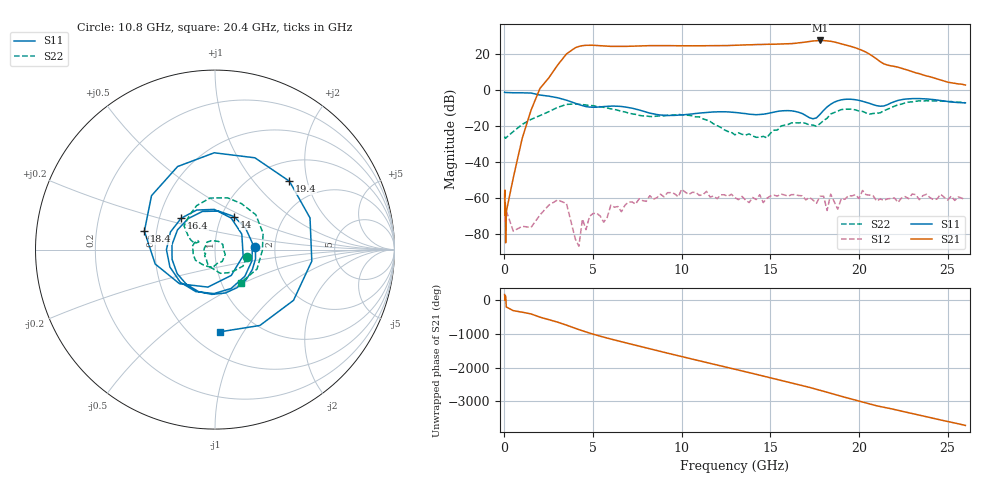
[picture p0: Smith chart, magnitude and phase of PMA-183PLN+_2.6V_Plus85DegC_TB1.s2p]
!Keysight Technologies,N5244A,MY52442000,A.10.40.14
!Date: Thursday, July 16, 2020 11:13:35
!Correction: S11(Full 2 Port(1,2))
!S21(Full 2 Port(1,2))
!S12(Full 2 Port(1,2))
!S22(Full 2 Port(1,2))
!S2P File: Measurements: S11, S21, S12, S22:
# Hz S  dB  R 50
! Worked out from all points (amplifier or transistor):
!   128 points, 10 MHz to 26 GHz, reference 50 ohm
!   highest |S21| = 27.6 dB at 17.8 GHz (marker M1)
!   |S21| within 3 dB of that: 7.8 GHz to 19.42 GHz (11.62 GHz wide, 85.4 % of centre)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
!   unconditionally stable (mu >= 1): start of sweep to end of sweep
!   at 4.8 GHz: K = 68.37, MAG = 26.2 dB, |S12| = -70.1 dB
!   at 13.4 GHz: K = 23.45, MAG = 25.3 dB, |S12| = -59.0 dB
!   at 26 GHz: K = 258.81, MAG = 4.8 dB, |S12| = -60.9 dB
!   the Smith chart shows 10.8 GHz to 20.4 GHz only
!   S11 on the Smith chart (normalised r, x): 10.8 GHz: 1.58, +0.04; 14 GHz: 1.15, +0.44; 16.4 GHz: 0.65, +0.24; 18.4 GHz: 0.43, +0.11; 19.4 GHz: 1.40, +1.56; 20.4 GHz: 0.68, -0.79
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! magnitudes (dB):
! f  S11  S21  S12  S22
! 10 MHz  -1.1  -59.3  -60.0  -26.3
! 50 MHz  -1.3  -62.8  -67.0  -26.6
! 70 MHz  -1.3  -84.8  -69.6  -26.6
! 90 MHz  -1.3  -71.9  -77.8  -26.4
! 100 MHz  -1.3  -67.8  -67.0  -26.3
! 1 GHz  -1.5  -26.9  -75.6  -19.0
! 2 GHz  -2.7  0.9  -69.4  -14.1
! 3 GHz  -4.2  14.0  -61.0  -9.6
! 4 GHz  -7.3  23.6  -82.7  -7.7
! 4.4 GHz  -8.6  24.7  -71.6  -8.0
! 8.8 GHz  -13.8  24.8  -57.8  -14.3
! 10.8 GHz  -12.9  24.7  -56.8  -14.8
! 13.2 GHz  -12.5  25.0  -60.9  -23.7
! 14 GHz  -13.5  25.3  -59.6  -25.4
! 16.4 GHz  -11.8  26.1  -58.0  -18.1
! 17.4 GHz  -15.9  27.3  -61.0  -19.4
! 17.8 GHz  -13.4  27.6  -59.0  -18.6
! 18.4 GHz  -7.8  27.2  -57.8  -13.2
! 19.4 GHz  -5.0  24.7  -58.6  -10.6
! 20.4 GHz  -6.8  21.1  -58.1  -12.6
! 21.8 GHz  -7.1  13.5  -60.2  -9.8
! 26 GHz  -7.0  2.9  -60.9  -7.1
